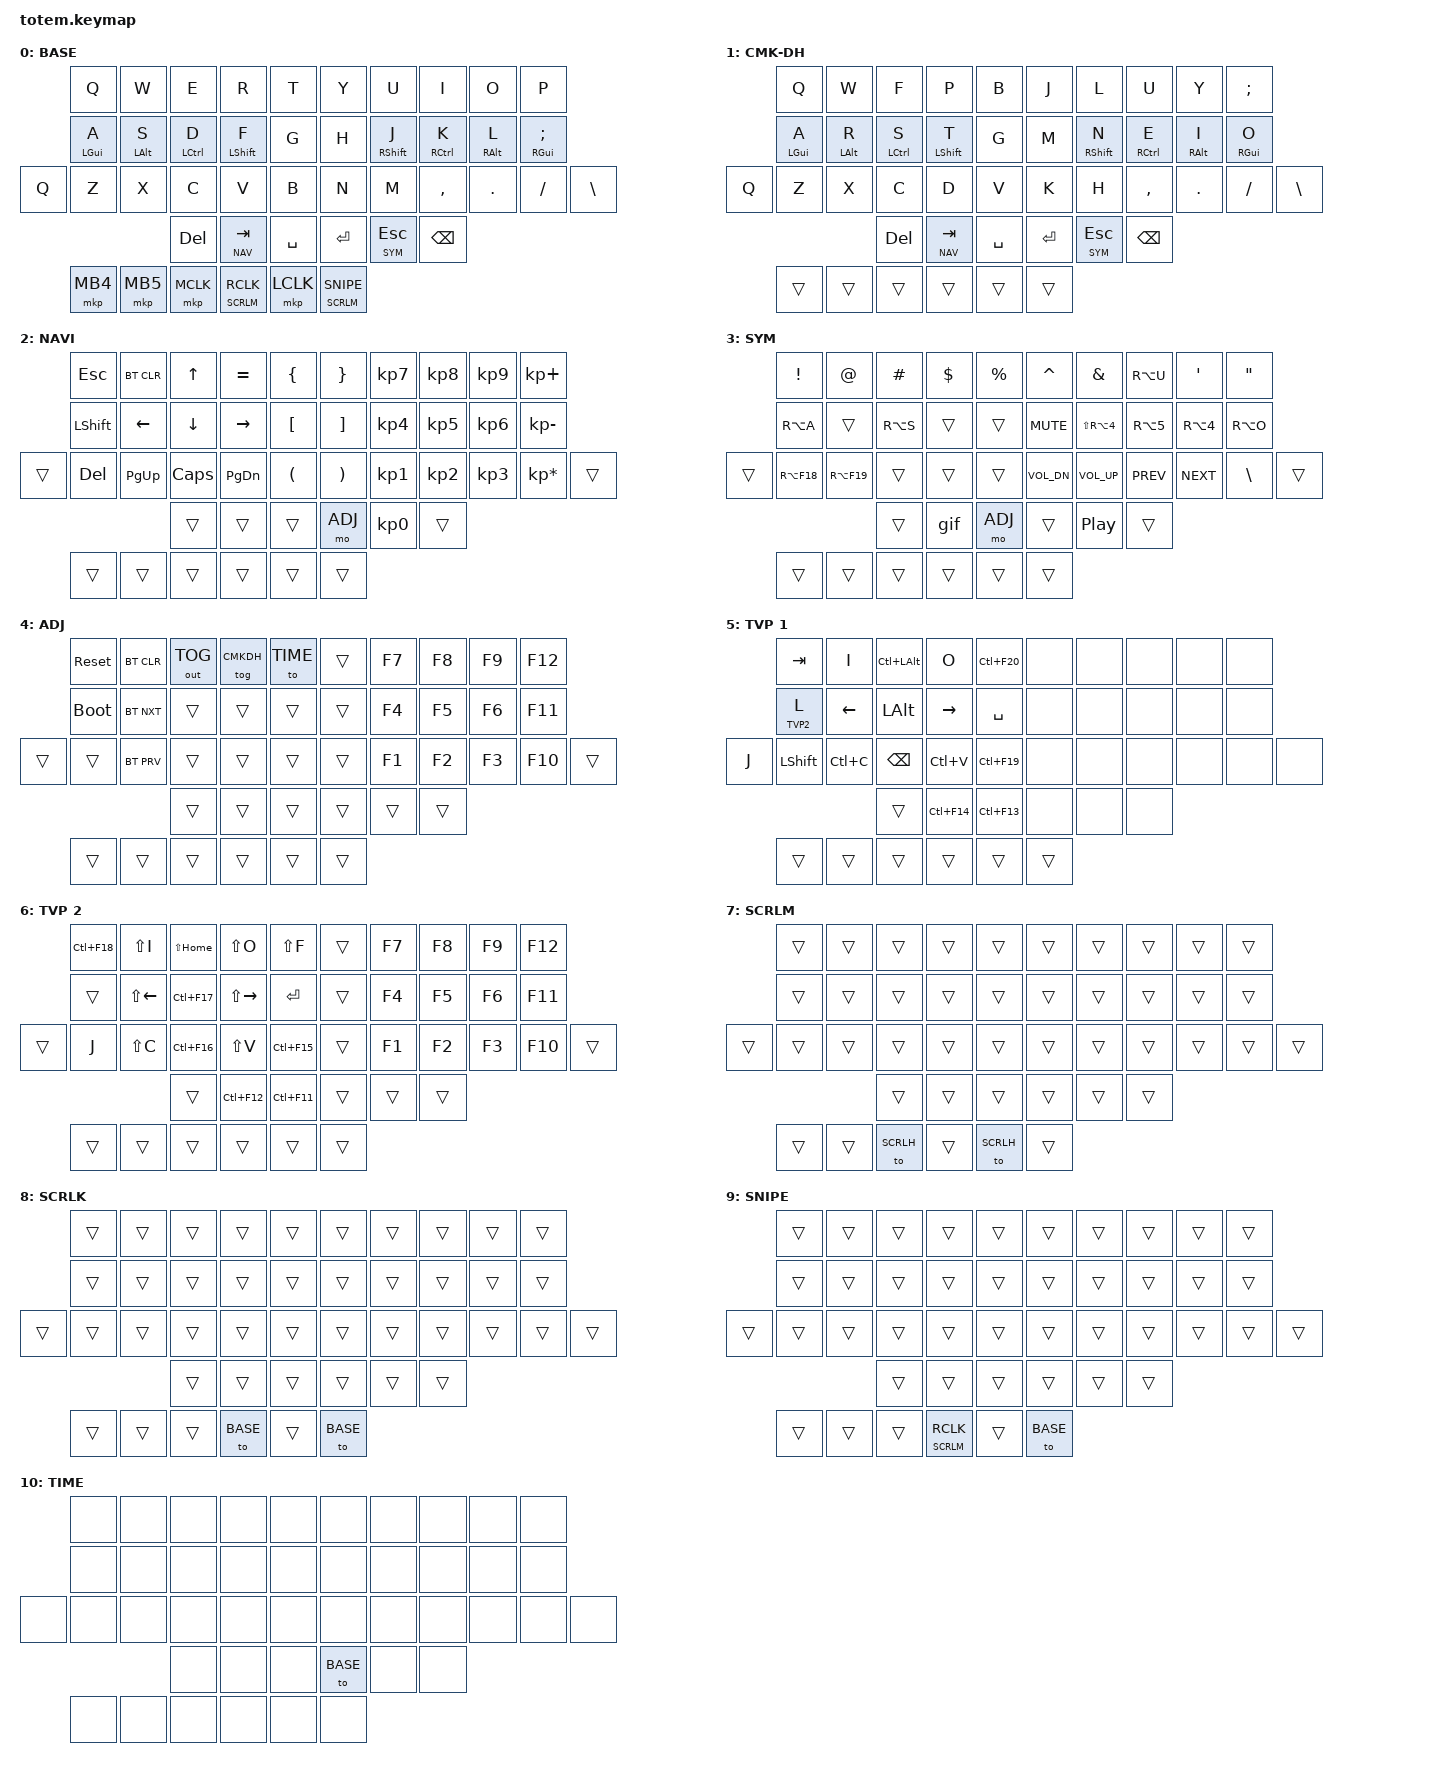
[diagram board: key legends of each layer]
//
//                                                        ▀▀▀▀▀     ▀▀▀▀▀          ▀▀█▀▀
//                                                        ▄▀▀▀▄  ▄  ▄▀▀▀▄  ▄  ▄▀▀▀▄  █  ▄▀▀▀▄
//                                                        █   █  █  █   █  █  █   █  █  █   █
//                                                         ▀▀▀   █   ▀▀▀   █   ▀▀▀   ▀   ▀▀▀
//                                                               █      ▄▄▄█▄▄▄    █   █  
//                                                               ▀      █  █  █     █▄█
//                                                             ▀▀▀▀▀    █  █  █      ▀
//                                                                      ▀  ▀  ▀
//
// ▄▄▄▄▄▄▄▄▄▄▄▄▄▄▄▄▄▄▄▄▄▄▄▄▄▄▄▄▄▄▄▄▄▄▄▄▄▄▄▄▄▄▄▄▄▄▄▄▄▄▄▄▄▄▄▄▄▄▄▄▄▄▄▄▄▄▄▄▄▄▄▄▄▄▄▄▄▄▄▄▄▄▄▄▄▄▄▄▄▄▄▄▄▄▄▄▄▄▄▄▄▄▄▄▄▄▄▄▄▄▄▄▄▄▄▄▄▄▄▄▄▄▄▄▄▄▄▄▄▄▄▄▄▄▄▄▄▄▄▄▄▄▄▄▄▄▄▄▄
       

#include <behaviors.dtsi>
#include <dt-bindings/zmk/keys.h>
#include <dt-bindings/zmk/bt.h>
#include <dt-bindings/zmk/outputs.h>
#include <dt-bindings/zmk/pointing.h>

// Keyboard layers 0-6, trackball/pointing layers 7-9, dongle clock editor 10.
#define BASE  0
#define CMKDH 1
#define NAV   2
#define SYM   3
#define ADJ   4
#define TVP1  5
#define TVP2  6
#define SCRLM 7
#define SCRLH 8
#define SNIPE 9
#define TIME  10

&mt {
  /* Reverted from the positional hml/hmr experiment back to a plain mod-tap, per
   * request. Same as the GEIGEIGEIST Totem original except tapping-term 170->200
   * (a home key must be held a bit longer to become a mod) plus require-prior-idle
   * so any key pressed within 150ms forces a plain tap during a typing stream. */
  quick-tap-ms = <100>;
  global-quick-tap;
  flavor = "tap-preferred";
  tapping-term-ms = <200>;
  require-prior-idle-ms = <150>;
};

/ {
     combos {
            compatible = "zmk,combos";
            combo_esc {
                timeout-ms = <50>;
                key-positions = <0 1>;
                bindings = <&kp ESC>;
            };
            combo_tvp {
                timeout-ms = <100>;
                key-positions = <11 12 13>;
                bindings = <&tog TVP1>;
            };
            combo_tb_rclk {
                // adeptBLE: trackball buttons D3+D4 (pos 40+41) = right click
                timeout-ms = <50>;
                key-positions = <40 41>;
                bindings = <&mkp RCLK>;
            };
    };

    macros {
        gif: gif {
            label = "giphy";
            compatible = "zmk,behavior-macro";
            #binding-cells = <0>;
            bindings
                = <&macro_press &kp LSHFT>
                , <&macro_tap &kp N2>
                , <&macro_release &kp LSHFT>
                , <&macro_tap &kp G &kp I &kp F>
                ;
        };
    };

    behaviors {
        // adeptBLE trackball: hold = layer / tap = click|toggle.
        lth: layer_tap_hold {
            compatible = "zmk,behavior-hold-tap";
            #binding-cells = <2>;
            flavor = "hold-preferred";
            hold-while-undecided;
            tapping-term-ms = <200>;
            bindings = <&mo>, <&mkp>;
        };
        mto: momentary_or_toggle {
            compatible = "zmk,behavior-hold-tap";
            #binding-cells = <2>;
            flavor = "hold-preferred";
            hold-while-undecided;
            tapping-term-ms = <200>;
            bindings = <&mo>, <&to>;
        };
    };

        keymap {
                compatible = "zmk,keymap";
// ▄▄▄▄▄▄▄▄▄▄▄▄▄▄▄▄▄▄▄▄▄▄▄▄▄▄▄▄▄▄▄▄▄▄▄▄▄▄▄▄▄▄▄▄▄▄▄▄▄▄▄▄▄▄▄▄▄▄▄▄▄▄▄▄▄▄▄▄▄▄▄▄▄▄▄▄▄▄▄▄▄▄▄▄▄▄▄▄▄▄▄▄▄▄▄▄▄▄▄▄▄▄▄▄▄▄▄▄▄▄▄▄▄▄▄▄▄▄▄▄▄▄▄▄▄▄▄▄▄▄▄▄▄▄▄▄▄▄▄▄▄▄▄▄▄▄▄▄▄

                base_layer {
// ┏━━━━━━━━━━━━━━━━━━━━━━━━━━━━━━━━━━━━━━━┓
display-name = "BASE"                              ;
// ┗━━━━━━━━━━━━━━━━━━━━━━━━━━━━━━━━━━━━━━━┛
//             ┏━━━━━━━━━━━┳━━━━━━━━━━━┳━━━━━━━━━━━┳━━━━━━━━━━━┳━━━━━━━━━━━┓   ┏━━━━━━━━━━━┳━━━━━━━━━━━┳━━━━━━━━━━━┳━━━━━━━━━━━┳━━━━━━━━━━━┓
//             ┃     Q     ┃     W     ┃     E     ┃     R     ┃     T     ┃   ┃     Y     ┃     U     ┃     I     ┃     O     ┃     P     ┃
//             ┣━━━━━━━━━━━╋━━━━━━━━━━━╋━━━━━━━━━━━╋━━━━━━━━━━━╋━━━━━━━━━━━┫   ┣━━━━━━━━━━━╋━━━━━━━━━━━╋━━━━━━━━━━━╋━━━━━━━━━━━╋━━━━━━━━━━━┫
//             ┃     A     ┃     S     ┃     D     ┃     F     ┃     G     ┃   ┃     H     ┃     J     ┃     K     ┃     L     ┃     ;     ┃
// ┏━━━━━━━━━━━╋━━━━━━━━━━━╋━━━━━━━━━━━╋━━━━━━━━━━━╋━━━━━━━━━━━╋━━━━━━━━━━━┫   ┣━━━━━━━━━━━╋━━━━━━━━━━━╋━━━━━━━━━━━╋━━━━━━━━━━━╋━━━━━━━━━━━╋━━━━━━━━━━━┓
// ┃     Q     ┃     Z     ┃     X     ┃     C     ┃     V     ┃     B     ┃   ┃     N     ┃     M     ┃     ,     ┃     .     ┃     /     ┃     \     ┃
// ┗━━━━━━━━━━━┻━━━━━━━━━━━┻━━━━━━━━━━━╋━━━━━━━━━━━╋━━━━━━━━━━━╋━━━━━━━━━━━┫   ┣━━━━━━━━━━━╋━━━━━━━━━━━╋━━━━━━━━━━━╋━━━━━━━━━━━┻━━━━━━━━━━━┻━━━━━━━━━━━┛
//                                     ┃    DEL    ┃  NAV/TAB  ┃    SPC    ┃   ┃   ENTER   ┃  SYM/ESC  ┃   BSPC    ┃
//                                     ┗━━━━━━━━━━━┻━━━━━━━━━━━┻━━━━━━━━━━━┛   ┗━━━━━━━━━━━┻━━━━━━━━━━━┻━━━━━━━━━━━┛
// trackball buttons (physical 4-top + 2-bottom; SCR·x = hold scroll / tap x):
//   ┏━━━━━━━━━━┳━━━━━━━━━━┳━━━━━━━━━━┳━━━━━━━━━━┓
//   ┃   MB4    ┃   MB5    ┃   MCLK   ┃ SCR·RCLK ┃
//   ┗━━━━━━━━━━┻━━━━━━━━━━┻━━━━━━━━━━┻━━━━━━━━━━┛
//   ┏━━━━━━━━━━┓                     ┏━━━━━━━━━━┓
//   ┃   LCLK   ┃                     ┃ SCR·SNP  ┃
//   ┗━━━━━━━━━━┛                     ┗━━━━━━━━━━┛
 bindings = <
// ╷           ╷           ╷           ╷           ╷           ╷           ╷   ╷           ╷           ╷           ╷           ╷           ╷           ╷

                &kp Q       &kp W       &kp E       &kp R       &kp T           &kp Y       &kp U       &kp I       &kp O       &kp P
                &mt LGUI A  &mt LALT S  &mt LCTRL D &mt LSHFT F &kp G           &kp H       &mt RSHFT J &mt RCTRL K &mt RALT L  &mt RGUI SEMI
    &kp Q       &kp Z       &kp X       &kp C       &kp V       &kp B           &kp N       &kp M       &kp COMMA   &kp DOT     &kp FSLH    &kp BSLH
                                        &kp DEL   &lt NAV TAB   &kp SPACE       &kp RET   &lt SYM ESC   &kp BSPC
                &mkp MB4    &mkp MB5    &mkp MCLK   &lth SCRLM RCLK   &mkp LCLK   &mto SCRLM SNIPE
                        >;
                };

                colemak_dh_layer {
// ┏━━━━━━━━━━━━━━━━━━━━━━━━━━━━━━━━━━━━━━━┓
display-name = "CMK-DH"                            ;
// ┗━━━━━━━━━━━━━━━━━━━━━━━━━━━━━━━━━━━━━━━┛
// Colemak Mod-DH (alternate ENGLISH layout). Toggle with &tog CMKDH on ADJ.
// Thumb row + outer edges are bound IDENTICAL to the QWERTY base so NAV/SYM/ADJ
// (and the toggle-OFF back to QWERTY) stay reachable while this layer is held on
// -- not relying on invisible fall-through. Only the trackball row stays &trans
// (inherits base; identical on every layer). Toggle OFF for the Korean 두벌식 IME.
//             ┏━━━━━━━━━━━┳━━━━━━━━━━━┳━━━━━━━━━━━┳━━━━━━━━━━━┳━━━━━━━━━━━┓   ┏━━━━━━━━━━━┳━━━━━━━━━━━┳━━━━━━━━━━━┳━━━━━━━━━━━┳━━━━━━━━━━━┓
//             ┃     Q     ┃     W     ┃     F     ┃     P     ┃     B     ┃   ┃     J     ┃     L     ┃     U     ┃     Y     ┃     ;     ┃
//             ┣━━━━━━━━━━━╋━━━━━━━━━━━╋━━━━━━━━━━━╋━━━━━━━━━━━╋━━━━━━━━━━━┫   ┣━━━━━━━━━━━╋━━━━━━━━━━━╋━━━━━━━━━━━╋━━━━━━━━━━━╋━━━━━━━━━━━┫
//             ┃     A     ┃     R     ┃     S     ┃     T     ┃     G     ┃   ┃     M     ┃     N     ┃     E     ┃     I     ┃     O     ┃
// ┏━━━━━━━━━━━╋━━━━━━━━━━━╋━━━━━━━━━━━╋━━━━━━━━━━━╋━━━━━━━━━━━╋━━━━━━━━━━━┫   ┣━━━━━━━━━━━╋━━━━━━━━━━━╋━━━━━━━━━━━╋━━━━━━━━━━━╋━━━━━━━━━━━╋━━━━━━━━━━━┓
// ┃     Q     ┃     Z     ┃     X     ┃     C     ┃     D     ┃     V     ┃   ┃     K     ┃     H     ┃     ,     ┃     .     ┃     /     ┃     \     ┃
// ┗━━━━━━━━━━━┻━━━━━━━━━━━┻━━━━━━━━━━━╋━━━━━━━━━━━╋━━━━━━━━━━━╋━━━━━━━━━━━┫   ┣━━━━━━━━━━━╋━━━━━━━━━━━╋━━━━━━━━━━━╋━━━━━━━━━━━┻━━━━━━━━━━━┻━━━━━━━━━━━┛
//                                     ┃    DEL    ┃  NAV/TAB  ┃    SPC    ┃   ┃   ENTER   ┃  SYM/ESC  ┃   BSPC    ┃
 bindings = <
                &kp Q       &kp W       &kp F       &kp P       &kp B           &kp J       &kp L       &kp U       &kp Y       &kp SEMI
                &mt LGUI A  &mt LALT R  &mt LCTRL S &mt LSHFT T &kp G           &kp M       &mt RSHFT N &mt RCTRL E &mt RALT I  &mt RGUI O
    &kp Q       &kp Z       &kp X       &kp C       &kp D       &kp V           &kp K       &kp H       &kp COMMA   &kp DOT     &kp FSLH    &kp BSLH
                                        &kp DEL   &lt NAV TAB   &kp SPACE       &kp RET   &lt SYM ESC   &kp BSPC
                &trans      &trans      &trans      &trans      &trans      &trans
                        >;
                };

// ▄▄▄▄▄▄▄▄▄▄▄▄▄▄▄▄▄▄▄▄▄▄▄▄▄▄▄▄▄▄▄▄▄▄▄▄▄▄▄▄▄▄▄▄▄▄▄▄▄▄▄▄▄▄▄▄▄▄▄▄▄▄▄▄▄▄▄▄▄▄▄▄▄▄▄▄▄▄▄▄▄▄▄▄▄▄▄▄▄▄▄▄▄▄▄▄▄▄▄▄▄▄▄▄▄▄▄▄▄▄▄▄▄▄▄▄▄▄▄▄▄▄▄▄▄▄▄▄▄▄▄▄▄▄▄▄▄▄▄▄▄▄▄▄▄▄▄▄▄


                nav_layer {
// ┏━━━━━━━━━━━━━━━━━━━━━━━━━━━━━━━━━━━━━━━┓
display-name = "NAVI"                              ;
// ┗━━━━━━━━━━━━━━━━━━━━━━━━━━━━━━━━━━━━━━━┛
//             ┏━━━━━━━━━━━┳━━━━━━━━━━━┳━━━━━━━━━━━┳━━━━━━━━━━━┳━━━━━━━━━━━┓   ┏━━━━━━━━━━━┳━━━━━━━━━━━┳━━━━━━━━━━━┳━━━━━━━━━━━┳━━━━━━━━━━━┓
//             ┃           ┃           ┃     UP    ┃           ┃     {     ┃   ┃     }     ┃     7     ┃     8     ┃     9     ┃     +     ┃
//             ┣━━━━━━━━━━━╋━━━━━━━━━━━╋━━━━━━━━━━━╋━━━━━━━━━━━╋━━━━━━━━━━━┫   ┣━━━━━━━━━━━╋━━━━━━━━━━━╋━━━━━━━━━━━╋━━━━━━━━━━━╋━━━━━━━━━━━┫
//             ┃   SHIFT   ┃   LEFT    ┃    DOWN   ┃   RIGHT   ┃     [     ┃   ┃     ]     ┃     4     ┃     5     ┃     6     ┃     -     ┃
// ┏━━━━━━━━━━━╋━━━━━━━━━━━╋━━━━━━━━━━━╋━━━━━━━━━━━╋━━━━━━━━━━━╋━━━━━━━━━━━┫   ┣━━━━━━━━━━━╋━━━━━━━━━━━╋━━━━━━━━━━━╋━━━━━━━━━━━╋━━━━━━━━━━━╋━━━━━━━━━━━┓
// ┃           ┃           ┃   P UP    ┃  C LOCK   ┃  P DOWN   ┃     (     ┃   ┃     )     ┃     1     ┃     2     ┃     3     ┃     *     ┃           ┃
// ┗━━━━━━━━━━━┻━━━━━━━━━━━┻━━━━━━━━━━━╋━━━━━━━━━━━╋━━━━━━━━━━━╋━━━━━━━━━━━┫   ┣━━━━━━━━━━━╋━━━━━━━━━━━╋━━━━━━━━━━━╋━━━━━━━━━━━┻━━━━━━━━━━━┻━━━━━━━━━━━┛
//                                     ┃           ┃    TAB    ┃    SPC    ┃   ┃    DEL    ┃     0     ┃           ┃
//                                     ┗━━━━━━━━━━━┻━━━━━━━━━━━┻━━━━━━━━━━━┛   ┗━━━━━━━━━━━┻━━━━━━━━━━━┻━━━━━━━━━━━┛
 bindings = <
// ╷           ╷           ╷           ╷           ╷           ╷           ╷   ╷           ╷           ╷           ╷           ╷           ╷           ╷

                &kp ESC     &bt BT_CLR  &kp UP      &kp EQUAL   &kp LBRC        &kp RBRC    &kp KP_N7   &kp KP_N8   &kp KP_N9   &kp KP_PLUS
                &kp LSHFT   &kp LEFT    &kp DOWN    &kp RIGHT   &kp LBKT        &kp RBKT    &kp KP_N4   &kp KP_N5   &kp KP_N6   &kp KP_MINUS
    &trans      &kp DEL     &kp PG_UP   &kp CAPS    &kp PG_DN   &kp LPAR        &kp RPAR    &kp KP_N1   &kp KP_N2   &kp KP_N3   &kp KP_MULTIPLY &trans      
                                        &trans      &trans      &trans          &mo ADJ     &kp KP_N0   &trans      
                &trans      &trans      &trans      &trans      &trans      &trans
                        >;
                };

// ▄▄▄▄▄▄▄▄▄▄▄▄▄▄▄▄▄▄▄▄▄▄▄▄▄▄▄▄▄▄▄▄▄▄▄▄▄▄▄▄▄▄▄▄▄▄▄▄▄▄▄▄▄▄▄▄▄▄▄▄▄▄▄▄▄▄▄▄▄▄▄▄▄▄▄▄▄▄▄▄▄▄▄▄▄▄▄▄▄▄▄▄▄▄▄▄▄▄▄▄▄▄▄▄▄▄▄▄▄▄▄▄▄▄▄▄▄▄▄▄▄▄▄▄▄▄▄▄▄▄▄▄▄▄▄▄▄▄▄▄▄▄▄▄▄▄▄▄▄


                sim_layer {
// ┏━━━━━━━━━━━━━━━━━━━━━━━━━━━━━━━━━━━━━━━┓
display-name = "SYM"                               ;
// ┗━━━━━━━━━━━━━━━━━━━━━━━━━━━━━━━━━━━━━━━┛
//             ┏━━━━━━━━━━━┳━━━━━━━━━━━┳━━━━━━━━━━━┳━━━━━━━━━━━┳━━━━━━━━━━━┓   ┏━━━━━━━━━━━┳━━━━━━━━━━━┳━━━━━━━━━━━┳━━━━━━━━━━━┳━━━━━━━━━━━┓
//             ┃     !     ┃     @     ┃     #     ┃     $     ┃     %     ┃   ┃     ˆ     ┃     &     ┃     Ü     ┃     '     ┃     "     ┃
//             ┣━━━━━━━━━━━╋━━━━━━━━━━━╋━━━━━━━━━━━╋━━━━━━━━━━━╋━━━━━━━━━━━┫   ┣━━━━━━━━━━━╋━━━━━━━━━━━╋━━━━━━━━━━━╋━━━━━━━━━━━╋━━━━━━━━━━━┫
//             ┃     Ä     ┃           ┃    SZ     ┃           ┃           ┃   ┃   MUTE    ┃   YEN     ┃   EURO    ┃  POUND    ┃     Ö     ┃
// ┏━━━━━━━━━━━╋━━━━━━━━━━━╋━━━━━━━━━━━╋━━━━━━━━━━━╋━━━━━━━━━━━╋━━━━━━━━━━━┫   ┣━━━━━━━━━━━╋━━━━━━━━━━━╋━━━━━━━━━━━╋━━━━━━━━━━━╋━━━━━━━━━━━╋━━━━━━━━━━━┓
// ┃           ┃  EMAIL1   ┃  EMAIL2   ┃           ┃           ┃           ┃   ┃   VOL-    ┃   VOL+    ┃   LAST    ┃   NEXT    ┃     \     ┃           ┃
// ┗━━━━━━━━━━━┻━━━━━━━━━━━┻━━━━━━━━━━━╋━━━━━━━━━━━╋━━━━━━━━━━━╋━━━━━━━━━━━┫   ┣━━━━━━━━━━━╋━━━━━━━━━━━╋━━━━━━━━━━━╋━━━━━━━━━━━┻━━━━━━━━━━━┻━━━━━━━━━━━┛
//                                     ┃           ┃    GIF    ┃    ADJ    ┃   ┃           ┃           ┃           ┃
//                                     ┗━━━━━━━━━━━┻━━━━━━━━━━━┻━━━━━━━━━━━┛   ┗━━━━━━━━━━━┻━━━━━━━━━━━┻━━━━━━━━━━━┛
 bindings = <
// ╷           ╷           ╷           ╷           ╷           ╷           ╷   ╷           ╷           ╷           ╷           ╷           ╷           ╷

                &kp EXCL    &kp AT      &kp HASH    &kp DLLR    &kp PRCNT       &kp CARET   &kp AMPS    &kp RA(U)   &kp SQT     &kp DQT       
                &kp RA(A)   &trans      &kp RA(S)   &trans      &trans          &kp C_MUTE  &kp LS(RA(N4)) &kp RA(N5) &kp RA(N4)   &kp RA(O) 
    &trans      &kp RA(F18) &kp RA(F19) &trans      &trans      &trans          &kp C_VOL_DN &kp C_VOL_UP &kp C_PREV &kp C_NEXT  &kp BSLH   &trans         
                                        &trans      &gif        &mo ADJ         &trans      &kp C_PP    &trans      
                &trans      &trans      &trans      &trans      &trans      &trans
                        >;
                };

// ▄▄▄▄▄▄▄▄▄▄▄▄▄▄▄▄▄▄▄▄▄▄▄▄▄▄▄▄▄▄▄▄▄▄▄▄▄▄▄▄▄▄▄▄▄▄▄▄▄▄▄▄▄▄▄▄▄▄▄▄▄▄▄▄▄▄▄▄▄▄▄▄▄▄▄▄▄▄▄▄▄▄▄▄▄▄▄▄▄▄▄▄▄▄▄▄▄▄▄▄▄▄▄▄▄▄▄▄▄▄▄▄▄▄▄▄▄▄▄▄▄▄▄▄▄▄▄▄▄▄▄▄▄▄▄▄▄▄▄▄▄▄▄▄▄▄▄▄▄


                adjust_layer {
// ┏━━━━━━━━━━━━━━━━━━━━━━━━━━━━━━━━━━━━━━━┓
display-name = "ADJ"                               ;
// ┗━━━━━━━━━━━━━━━━━━━━━━━━━━━━━━━━━━━━━━━┛
//             ┏━━━━━━━━━━━┳━━━━━━━━━━━┳━━━━━━━━━━━┳━━━━━━━━━━━┳━━━━━━━━━━━┓   ┏━━━━━━━━━━━┳━━━━━━━━━━━┳━━━━━━━━━━━┳━━━━━━━━━━━┳━━━━━━━━━━━┓
//             ┃   RESET   ┃ BT CLEAR  ┃  OUT TOG  ┃  CMK-DH   ┃ SET CLOCK ┃   ┃           ┃    F7     ┃    F8     ┃    F9     ┃    F12    ┃
//             ┣━━━━━━━━━━━╋━━━━━━━━━━━╋━━━━━━━━━━━╋━━━━━━━━━━━╋━━━━━━━━━━━┫   ┣━━━━━━━━━━━╋━━━━━━━━━━━╋━━━━━━━━━━━╋━━━━━━━━━━━╋━━━━━━━━━━━┫
//             ┃ BOOTLOAD  ┃ BT NEXT   ┃           ┃           ┃           ┃   ┃           ┃    F4     ┃    F5     ┃    F6     ┃    F11    ┃
// ┏━━━━━━━━━━━╋━━━━━━━━━━━╋━━━━━━━━━━━╋━━━━━━━━━━━╋━━━━━━━━━━━╋━━━━━━━━━━━┫   ┣━━━━━━━━━━━╋━━━━━━━━━━━╋━━━━━━━━━━━╋━━━━━━━━━━━╋━━━━━━━━━━━╋━━━━━━━━━━━┓
// ┃           ┃           ┃ BT PREV   ┃           ┃           ┃           ┃   ┃           ┃    F1     ┃    F2     ┃    F3     ┃    F10    ┃           ┃
// ┗━━━━━━━━━━━┻━━━━━━━━━━━┻━━━━━━━━━━━╋━━━━━━━━━━━╋━━━━━━━━━━━╋━━━━━━━━━━━┫   ┣━━━━━━━━━━━╋━━━━━━━━━━━╋━━━━━━━━━━━╋━━━━━━━━━━━┻━━━━━━━━━━━┻━━━━━━━━━━━┛
//                                     ┃           ┃           ┃           ┃   ┃           ┃           ┃           ┃
//                                     ┗━━━━━━━━━━━┻━━━━━━━━━━━┻━━━━━━━━━━━┛   ┗━━━━━━━━━━━┻━━━━━━━━━━━┻━━━━━━━━━━━┛
 bindings = <
// ╷           ╷           ╷           ╷           ╷           ╷           ╷   ╷           ╷           ╷           ╷           ╷           ╷           ╷

                &sys_reset  &bt BT_CLR &out OUT_TOG &tog CMKDH  &to TIME        &trans      &kp F7      &kp F8      &kp F9      &kp F12
                &bootloader &bt BT_NXT  &trans      &trans      &trans          &trans      &kp F4      &kp F5      &kp F6      &kp F11  
    &trans      &trans      &bt BT_PRV  &trans      &trans      &trans          &trans      &kp F1      &kp F2      &kp F3      &kp F10     &trans         
                                        &trans      &trans      &trans          &trans      &trans      &trans      
                &trans      &trans      &trans      &trans      &trans      &trans
                        >;
                };

// ▄▄▄▄▄▄▄▄▄▄▄▄▄▄▄▄▄▄▄▄▄▄▄▄▄▄▄▄▄▄▄▄▄▄▄▄▄▄▄▄▄▄▄▄▄▄▄▄▄▄▄▄▄▄▄▄▄▄▄▄▄▄▄▄▄▄▄▄▄▄▄▄▄▄▄▄▄▄▄▄▄▄▄▄▄▄▄▄▄▄▄▄▄▄▄▄▄▄▄▄▄▄▄▄▄▄▄▄▄▄▄▄▄▄▄▄▄▄▄▄▄▄▄▄▄▄▄▄▄▄▄▄▄▄▄▄▄▄▄▄▄▄▄▄▄▄▄▄▄


                tvp1_layer {
// ┏━━━━━━━━━━━━━━━━━━━━━━━━━━━━━━━━━━━━━━━┓
display-name = "TVP 1"                             ;
// ┗━━━━━━━━━━━━━━━━━━━━━━━━━━━━━━━━━━━━━━━┛
//             ┏━━━━━━━━━━━┳━━━━━━━━━━━┳━━━━━━━━━━━┳━━━━━━━━━━━┳━━━━━━━━━━━┓   ┏━━━━━━━━━━━┳━━━━━━━━━━━┳━━━━━━━━━━━┳━━━━━━━━━━━┳━━━━━━━━━━━┓
//             ┃ NEXT FILE ┃ MARK IN   ┃ ROTATE    ┃ MARK OUT  ┃ SHOW SNAP ┃   ┃           ┃           ┃           ┃           ┃           ┃
//             ┣━━━━━━━━━━━╋━━━━━━━━━━━╋━━━━━━━━━━━╋━━━━━━━━━━━╋━━━━━━━━━━━┫   ┣━━━━━━━━━━━╋━━━━━━━━━━━╋━━━━━━━━━━━╋━━━━━━━━━━━╋━━━━━━━━━━━┫
//             ┃ TVP II    ┃ LEFT      ┃ PAN       ┃ RIGHT     ┃ PLAY/FLIP ┃   ┃           ┃           ┃           ┃           ┃           ┃
// ┏━━━━━━━━━━━╋━━━━━━━━━━━╋━━━━━━━━━━━╋━━━━━━━━━━━╋━━━━━━━━━━━╋━━━━━━━━━━━┫   ┣━━━━━━━━━━━╋━━━━━━━━━━━╋━━━━━━━━━━━╋━━━━━━━━━━━╋━━━━━━━━━━━╋━━━━━━━━━━━┓
// ┃ FULLSCR   ┃ SHIFT     ┃ COPY      ┃ DELETE    ┃ PASTE     ┃ IMG MARK  ┃   ┃           ┃           ┃           ┃           ┃           ┃           ┃
// ┗━━━━━━━━━━━┻━━━━━━━━━━━┻━━━━━━━━━━━╋━━━━━━━━━━━╋━━━━━━━━━━━╋━━━━━━━━━━━┫   ┣━━━━━━━━━━━╋━━━━━━━━━━━╋━━━━━━━━━━━╋━━━━━━━━━━━┻━━━━━━━━━━━┻━━━━━━━━━━━┛
//                                     ┃           ┃ UNDO/SAVE ┃  SEL/MOV  ┃   ┃           ┃           ┃           ┃
//                                     ┗━━━━━━━━━━━┻━━━━━━━━━━━┻━━━━━━━━━━━┛   ┗━━━━━━━━━━━┻━━━━━━━━━━━┻━━━━━━━━━━━┛
 bindings = <
// ╷           ╷           ╷           ╷           ╷           ╷           ╷   ╷           ╷           ╷           ╷           ╷           ╷           ╷

                &kp TAB     &kp I       &kp LC(LALT) &kp O      &kp LC(F20)     &none       &none       &none       &none       &none
                &lt TVP2 L  &kp LEFT    &kp LALT    &kp RIGHT   &kp SPACE       &none       &none       &none       &none       &none
    &kp J       &kp LSHFT   &kp LC(C)   &kp BSPC    &kp LC(V)   &kp LC(F19)     &none       &none       &none       &none       &none       &none        
                                        &trans      &kp LC(F14) &kp LC(F13)     &none       &none       &none    
                &trans      &trans      &trans      &trans      &trans      &trans
                        >;
                };

// ▄▄▄▄▄▄▄▄▄▄▄▄▄▄▄▄▄▄▄▄▄▄▄▄▄▄▄▄▄▄▄▄▄▄▄▄▄▄▄▄▄▄▄▄▄▄▄▄▄▄▄▄▄▄▄▄▄▄▄▄▄▄▄▄▄▄▄▄▄▄▄▄▄▄▄▄▄▄▄▄▄▄▄▄▄▄▄▄▄▄▄▄▄▄▄▄▄▄▄▄▄▄▄▄▄▄▄▄▄▄▄▄▄▄▄▄▄▄▄▄▄▄▄▄▄▄▄▄▄▄▄▄▄▄▄▄▄▄▄▄▄▄▄▄▄▄▄▄▄


                tvp2_layer {
// ┏━━━━━━━━━━━━━━━━━━━━━━━━━━━━━━━━━━━━━━━┓
display-name = "TVP 2"                             ;
// ┗━━━━━━━━━━━━━━━━━━━━━━━━━━━━━━━━━━━━━━━┛
//             ┏━━━━━━━━━━━┳━━━━━━━━━━━┳━━━━━━━━━━━┳━━━━━━━━━━━┳━━━━━━━━━━━┓   ┏━━━━━━━━━━━┳━━━━━━━━━━━┳━━━━━━━━━━━┳━━━━━━━━━━━┳━━━━━━━━━━━┓
//             ┃ SOLO      ┃ TOGGLE IN ┃ RESET ROT ┃ TOGGLE OUT┃ TAKE SNAP ┃   ┃           ┃           ┃           ┃           ┃           ┃
//             ┣━━━━━━━━━━━╋━━━━━━━━━━━╋━━━━━━━━━━━╋━━━━━━━━━━━╋━━━━━━━━━━━┫   ┣━━━━━━━━━━━╋━━━━━━━━━━━╋━━━━━━━━━━━╋━━━━━━━━━━━╋━━━━━━━━━━━┫
//             ┃ ---       ┃ LAST KEY  ┃ NEW KEY   ┃ NEXT KEY  ┃ ENTER     ┃   ┃           ┃           ┃           ┃           ┃           ┃
// ┏━━━━━━━━━━━╋━━━━━━━━━━━╋━━━━━━━━━━━╋━━━━━━━━━━━╋━━━━━━━━━━━╋━━━━━━━━━━━┫   ┣━━━━━━━━━━━╋━━━━━━━━━━━╋━━━━━━━━━━━╋━━━━━━━━━━━╋━━━━━━━━━━━╋━━━━━━━━━━━┓
// ┃           ┃ FULLSCR   ┃ CPY2BRUSH ┃ DEL HEAD  ┃ PSTinPLACE┃ BOOK MARK ┃   ┃           ┃           ┃           ┃           ┃           ┃           ┃
// ┗━━━━━━━━━━━┻━━━━━━━━━━━┻━━━━━━━━━━━╋━━━━━━━━━━━╋━━━━━━━━━━━╋━━━━━━━━━━━┫   ┣━━━━━━━━━━━╋━━━━━━━━━━━╋━━━━━━━━━━━╋━━━━━━━━━━━┻━━━━━━━━━━━┻━━━━━━━━━━━┛
//                                     ┃           ┃ REDO/SAV1 ┃TRANS/WARP ┃   ┃           ┃           ┃           ┃
//                                     ┗━━━━━━━━━━━┻━━━━━━━━━━━┻━━━━━━━━━━━┛   ┗━━━━━━━━━━━┻━━━━━━━━━━━┻━━━━━━━━━━━┛
 bindings = <
// ╷           ╷           ╷           ╷           ╷           ╷           ╷   ╷           ╷           ╷           ╷           ╷           ╷           ╷

                &kp LC(F18) &kp LS(I)  &kp LS(HOME) &kp LS(O)   &kp LS(F)       &trans      &kp F7      &kp F8      &kp F9      &kp F12
                &trans      &kp LS(LEFT) &kp LC(F17) &kp LS(RIGHT) &kp RET      &trans      &kp F4      &kp F5      &kp F6      &kp F11  
    &trans      &kp J       &kp LS(C)   &kp LC(F16) &kp LS(V)   &kp LC(F15)     &trans      &kp F1      &kp F2      &kp F3      &kp F10     &trans         
                                        &trans      &kp LC(F12) &kp LC(F11)     &trans      &trans      &trans      
                &trans      &trans      &trans      &trans      &trans      &trans
                        >;
                };

                scrlm_layer {
display-name = "SCRLM"                             ;
// SCROLL momentary (keymap layer 7): hold any trackball button and the ball
// scrolls; tap D3 or D5 to latch into Scroll-Keep. Trackball D1-D6:
//   ┏━━━━━━━━━━┳━━━━━━━━━━┳━━━━━━━━━━┳━━━━━━━━━━┓
//   ┃    ·     ┃    ·     ┃ ->SCRLK  ┃    ·     ┃
//   ┗━━━━━━━━━━┻━━━━━━━━━━┻━━━━━━━━━━┻━━━━━━━━━━┛
//   ┏━━━━━━━━━━┓                     ┏━━━━━━━━━━┓
//   ┃ ->SCRLK  ┃                     ┃    ·     ┃
//   ┗━━━━━━━━━━┛                     ┗━━━━━━━━━━┛
 bindings = <
                &trans      &trans      &trans      &trans      &trans          &trans      &trans      &trans      &trans      &trans
                &trans      &trans      &trans      &trans      &trans          &trans      &trans      &trans      &trans      &trans
    &trans      &trans      &trans      &trans      &trans      &trans          &trans      &trans      &trans      &trans      &trans      &trans
                                        &trans      &trans      &trans          &trans      &trans      &trans
                &trans      &trans      &to SCRLH   &trans      &to SCRLH   &trans
                        >;
                };

                scrlh_layer {
display-name = "SCRLK"                             ;
// SCROLL-Keep (keymap layer 8): scrolling stays on hands-free; tap D4 or D6
// to return to BASE. Trackball D1-D6:
//   ┏━━━━━━━━━━┳━━━━━━━━━━┳━━━━━━━━━━┳━━━━━━━━━━┓
//   ┃    ·     ┃    ·     ┃    ·     ┃ ->BASE   ┃
//   ┗━━━━━━━━━━┻━━━━━━━━━━┻━━━━━━━━━━┻━━━━━━━━━━┛
//   ┏━━━━━━━━━━┓                     ┏━━━━━━━━━━┓
//   ┃    ·     ┃                     ┃ ->BASE   ┃
//   ┗━━━━━━━━━━┛                     ┗━━━━━━━━━━┛
 bindings = <
                &trans      &trans      &trans      &trans      &trans          &trans      &trans      &trans      &trans      &trans
                &trans      &trans      &trans      &trans      &trans          &trans      &trans      &trans      &trans      &trans
    &trans      &trans      &trans      &trans      &trans      &trans          &trans      &trans      &trans      &trans      &trans      &trans
                                        &trans      &trans      &trans          &trans      &trans      &trans
                &trans      &trans      &trans      &to BASE    &trans      &to BASE
                        >;
                };

                snipe_layer {
display-name = "SNIPE"                             ;
// SNIPE (keymap layer 9): 1/5 precision for fine aim. D4 hold=scroll /
// tap=right-click; D6 returns to BASE. Trackball D1-D6:
//   ┏━━━━━━━━━━┳━━━━━━━━━━┳━━━━━━━━━━┳━━━━━━━━━━┓
//   ┃    ·     ┃    ·     ┃    ·     ┃ SCR·RCLK ┃
//   ┗━━━━━━━━━━┻━━━━━━━━━━┻━━━━━━━━━━┻━━━━━━━━━━┛
//   ┏━━━━━━━━━━┓                     ┏━━━━━━━━━━┓
//   ┃    ·     ┃                     ┃ ->BASE   ┃
//   ┗━━━━━━━━━━┛                     ┗━━━━━━━━━━┛
 bindings = <
                &trans      &trans      &trans      &trans      &trans          &trans      &trans      &trans      &trans      &trans
                &trans      &trans      &trans      &trans      &trans          &trans      &trans      &trans      &trans      &trans
    &trans      &trans      &trans      &trans      &trans      &trans          &trans      &trans      &trans      &trans      &trans      &trans
                                        &trans      &trans      &trans          &trans      &trans      &trans
                &trans      &trans      &trans      &lth SCRLM RCLK   &trans      &to BASE
                        >;
                };

// ▄▄▄▄▄▄▄▄▄▄▄▄▄▄▄▄▄▄▄▄▄▄▄▄▄▄▄▄▄▄▄▄▄▄▄▄▄▄▄▄▄▄▄▄▄▄▄▄▄▄▄▄▄▄▄▄▄▄▄▄▄▄▄▄▄▄▄▄▄▄▄▄▄▄▄▄▄▄▄▄▄▄▄▄▄▄▄▄▄▄▄▄▄▄▄▄▄▄▄▄▄▄▄▄▄▄▄▄▄▄▄▄▄▄▄▄▄▄▄▄▄▄▄▄▄▄▄▄▄▄▄▄▄▄▄▄▄▄▄▄▄▄▄▄▄▄▄▄▄


                time_layer {
// ┏━━━━━━━━━━━━━━━━━━━━━━━━━━━━━━━━━━━━━━━┓
display-name = "TIME"                              ;
// ┗━━━━━━━━━━━━━━━━━━━━━━━━━━━━━━━━━━━━━━━┛
// Dongle clock editor -- reached with ADJ + T (&to TIME). EVERY key is &none, so
// nothing is typed into the host while the clock is being set: the display module
// listens to key POSITIONS, not keycodes, and the labels below say what the
// ON-SCREEN editor does, not what the keyboard sends.
//   fields cycle  YEAR -> MONTH -> DAY -> HOUR -> MINUTE
//   hold VALUE +/- to repeat. Saving zeroes the seconds, so dial in the NEXT
//   minute and press SAVE on the tick to be second-accurate.
//   The year matters even though the clock page does not show it -- the weekday
//   is computed from the full date.
//
// Why &none and NOT &trans: ZMK raises zmk_position_state_changed BEFORE any
// binding is consulted -- keymap.c is just another subscriber to that event --
// so the display sees every press whatever is bound. &none then returns
// ZMK_BEHAVIOR_OPAQUE (0), which the event manager treats as BUBBLE, so the
// event still reaches the display's listener. &trans returns TRANSPARENT and
// falls through to BASE, which would type "esdf" into the host while you set
// the clock.
//             ┏━━━━━━━━━━━┳━━━━━━━━━━━┳━━━━━━━━━━━┳━━━━━━━━━━━┳━━━━━━━━━━━┓   ┏━━━━━━━━━━━┳━━━━━━━━━━━┳━━━━━━━━━━━┳━━━━━━━━━━━┳━━━━━━━━━━━┓
//             ┃           ┃           ┃  VALUE +  ┃           ┃           ┃   ┃           ┃           ┃           ┃           ┃           ┃
//             ┣━━━━━━━━━━━╋━━━━━━━━━━━╋━━━━━━━━━━━╋━━━━━━━━━━━╋━━━━━━━━━━━┫   ┣━━━━━━━━━━━╋━━━━━━━━━━━╋━━━━━━━━━━━╋━━━━━━━━━━━╋━━━━━━━━━━━┫
//             ┃           ┃ < FIELD   ┃  VALUE -  ┃   FIELD > ┃           ┃   ┃           ┃           ┃           ┃           ┃           ┃
// ┏━━━━━━━━━━━╋━━━━━━━━━━━╋━━━━━━━━━━━╋━━━━━━━━━━━╋━━━━━━━━━━━╋━━━━━━━━━━━┫   ┣━━━━━━━━━━━╋━━━━━━━━━━━╋━━━━━━━━━━━╋━━━━━━━━━━━╋━━━━━━━━━━━╋━━━━━━━━━━━┓
// ┃           ┃           ┃           ┃           ┃           ┃           ┃   ┃           ┃           ┃           ┃           ┃           ┃           ┃
// ┗━━━━━━━━━━━┻━━━━━━━━━━━┻━━━━━━━━━━━╋━━━━━━━━━━━╋━━━━━━━━━━━╋━━━━━━━━━━━┫   ┣━━━━━━━━━━━╋━━━━━━━━━━━╋━━━━━━━━━━━╋━━━━━━━━━━━┻━━━━━━━━━━━┻━━━━━━━━━━━┛
//                                     ┃           ┃           ┃           ┃   ┃SAVE + EXIT┃           ┃           ┃
//                                     ┗━━━━━━━━━━━┻━━━━━━━━━━━┻━━━━━━━━━━━┛   ┗━━━━━━━━━━━┻━━━━━━━━━━━┻━━━━━━━━━━━┛
 bindings = <
// ╷           ╷           ╷           ╷           ╷           ╷           ╷   ╷           ╷           ╷           ╷           ╷           ╷           ╷

                &none       &none       &none       &none       &none           &none       &none       &none       &none       &none
                &none       &none       &none       &none       &none           &none       &none       &none       &none       &none
    &none       &none       &none       &none       &none       &none           &none       &none       &none       &none       &none       &none
                                        &none       &none       &none           &to BASE    &none       &none
                &none       &none       &none       &none       &none       &none
                        >;
                };
        };
};
